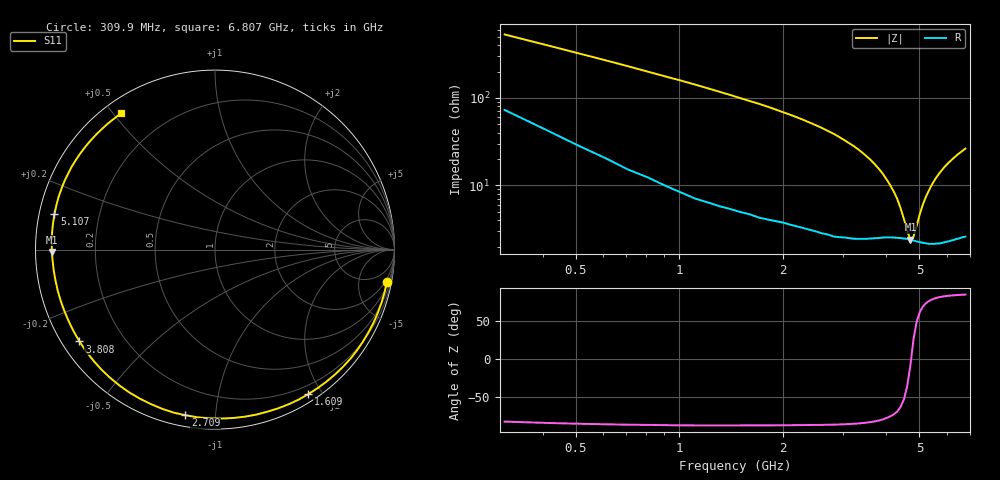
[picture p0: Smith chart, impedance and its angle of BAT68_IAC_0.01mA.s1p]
! Infineon Technologies  Discrete & RF Semiconductors
! BAT68
! IAC = 0.01 mA
! One-Port S-Parameters
# Hz  S  MA  R  50
!f  S11
!Hz  Mag  Ang
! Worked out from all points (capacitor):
!   66 points, 309.9 MHz to 6.807 GHz, reference 50 ohm
!   read as one part to ground: C = 964 fF near 309.9 MHz
!   lowest |Z| = 2.41 ohm at 4.708 GHz (marker M1)
!   series resonance near 4.731 GHz, so ESL is about 1.2 nH
!   S11 on the Smith chart (normalised r, x): 309.9 MHz: 1, -11; 1.609 GHz: 0.09, -1.83; 2.709 GHz: 0.06, -0.84; 3.808 GHz: 0.05, -0.31; 5.107 GHz: 0.04, +0.11; 6.807 GHz: 0.05, +0.52
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3.0985e8  0.9747 -10.7
5.0975e8  0.9737 -17.6
7.0965e8  0.973 -24.5
1.0095e9  0.9701 -35.1
1.2094e9  0.9671 -42.4
1.4093e9  0.9627 -49.7
1.6092e9  0.9583 -57.2
1.8091e9  0.9547 -64.4
2.009e9  0.949 -72.3
2.2089e9  0.9456 -79.9
2.4088e9  0.9419 -87.9
2.70865e9  0.9373 -100.1
2.8086e9  0.9371 -104.0
3.0085e9  0.9318 -112.7
3.2084e9  0.9281 -120.9
3.4083e9  0.9229 -129.4
3.6082e9  0.9175 -137.6
3.8081e9  0.9123 -145.9
4.10795e9  0.9063 -157.8
4.4078e9  0.9053 -168.8
4.70765e9  0.9091 -179.2
4.90755e9  0.9126 174.1
5.10745e9  0.9162 167.5
5.2074e9  0.9177 164.3
5.6072e9  0.9215 152.5
6.007e9  0.9218 142.1
6.4068e9  0.9212 132.9
6.8066e9  0.9217 124.6
